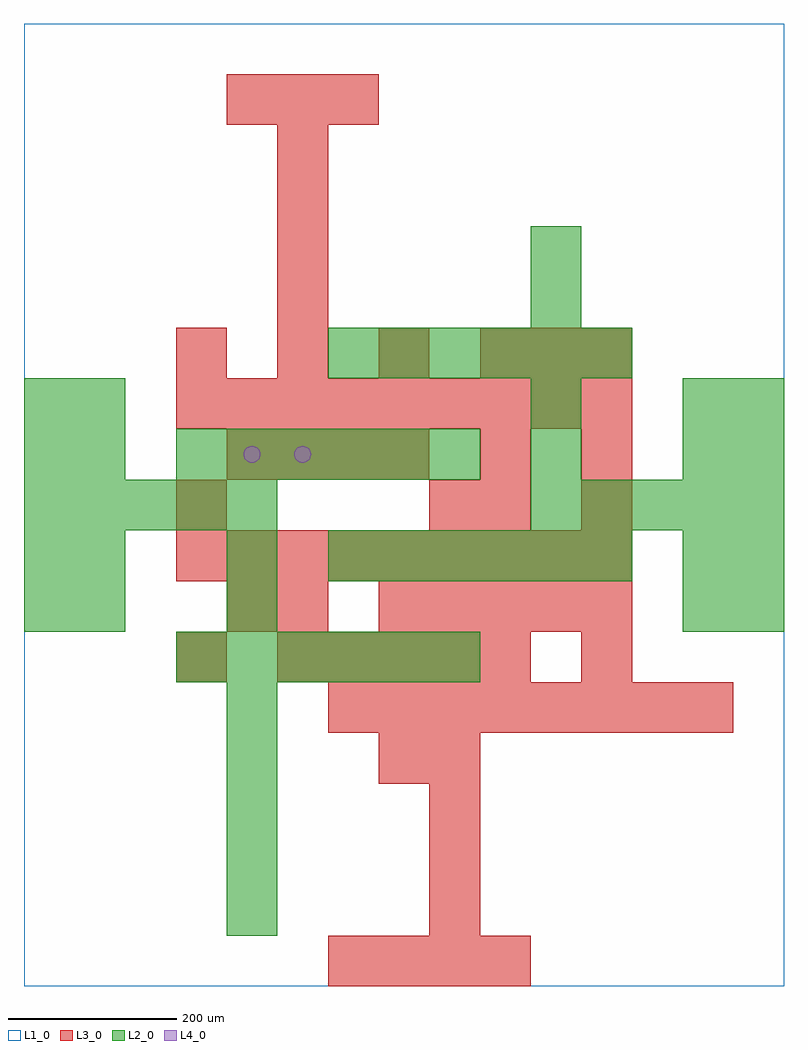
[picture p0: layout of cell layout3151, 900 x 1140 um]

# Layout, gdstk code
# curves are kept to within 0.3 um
import gdstk
lib = gdstk.Library(unit=1e-6, precision=1e-09)
def R(c, l, rs):  # rectangles x0, y0, x1, y1
    for r in rs: c.add(gdstk.rectangle(r[:2], r[2:], *l))
def A(c, l, x, y, w, h, nx, ny, dx, dy):  # array of equal rectangles
    R(c, l, [(x+i*dx, y+j*dy, x+i*dx+w, y+j*dy+h) for i in range(nx) for j in range(ny)])
def P(c, l, *ps):  # polygons
    for p in ps: c.add(gdstk.Polygon(p, *l))
L1_0 = (1, 0)
L2_0 = (2, 0)
L3_0 = (3, 0)
L4_0 = (4, 0)

layout3151 = lib.new_cell('layout3151')
R(layout3151, L1_0, [(0,0,900,1140)])
A(layout3151, L2_0, 240, 60, 60, 60, 1, 5, 0, 60)
A(layout3151, L2_0, 180, 360, 60, 60, 6, 2, 60, 240)
A(layout3151, L2_0, 360, 480, 60, 60, 6, 2, 60, 240)
A(layout3151, L2_0, 0, 540, 60, 60, 5, 1, 60, 0)
A(layout3151, L2_0, 600, 540, 60, 60, 5, 1, 60, 0)
R(layout3151, L2_0, [(0,420,60,480), (60,420,120,480), (240,420,300,480), (780,420,840,480), (840,420,900,480), (0,480,60,540), (60,480,120,540), (240,480,300,540), (780,480,840,540), (840,480,900,540), (0,600,60,660), (60,600,120,660), (600,600,660,660), (780,600,840,660), (840,600,900,660), (0,660,60,720), (60,660,120,720), (600,660,660,720), (780,660,840,720), (840,660,900,720), (600,780,660,840), (600,840,660,900)])
A(layout3151, L3_0, 360, 0, 60, 60, 4, 1, 60, 0)
A(layout3151, L3_0, 480, 60, 60, 60, 1, 4, 0, 60)
A(layout3151, L3_0, 360, 300, 60, 60, 8, 1, 60, 0)
A(layout3151, L3_0, 300, 360, 60, 60, 5, 1, 60, 0)
A(layout3151, L3_0, 420, 420, 60, 60, 5, 1, 60, 0)
A(layout3151, L3_0, 180, 480, 60, 60, 9, 2, 60, 180)
A(layout3151, L3_0, 240, 600, 60, 60, 4, 1, 60, 0)
A(layout3151, L3_0, 180, 720, 60, 60, 4, 1, 120, 0)
A(layout3151, L3_0, 300, 780, 60, 60, 1, 4, 0, 60)
A(layout3151, L3_0, 240, 1020, 60, 60, 3, 1, 60, 0)
R(layout3151, L3_0, [(420,240,480,300), (180,360,240,420), (660,360,720,420), (240,420,300,480), (300,420,360,480), (180,540,240,600), (480,540,540,600), (540,540,600,600), (660,540,720,600), (540,600,600,660), (660,600,720,660), (600,720,660,780), (660,720,720,780)])
P(layout3151, L4_0, [(280,630),(279.239,633.827),(277.071,637.071),(273.827,639.239),(270,640),(266.173,639.239),(262.929,637.071),(260.761,633.827),(260,630),(260.761,626.173),(262.929,622.929),(266.173,620.761),(270,620),(273.827,620.761),(277.071,622.929),(279.239,626.173)],
  [(340,630),(339.239,633.827),(337.071,637.071),(333.827,639.239),(330,640),(326.173,639.239),(322.929,637.071),(320.761,633.827),(320,630),(320.761,626.173),(322.929,622.929),(326.173,620.761),(330,620),(333.827,620.761),(337.071,622.929),(339.239,626.173)])

lib.write_gds('layout3151.gds')
